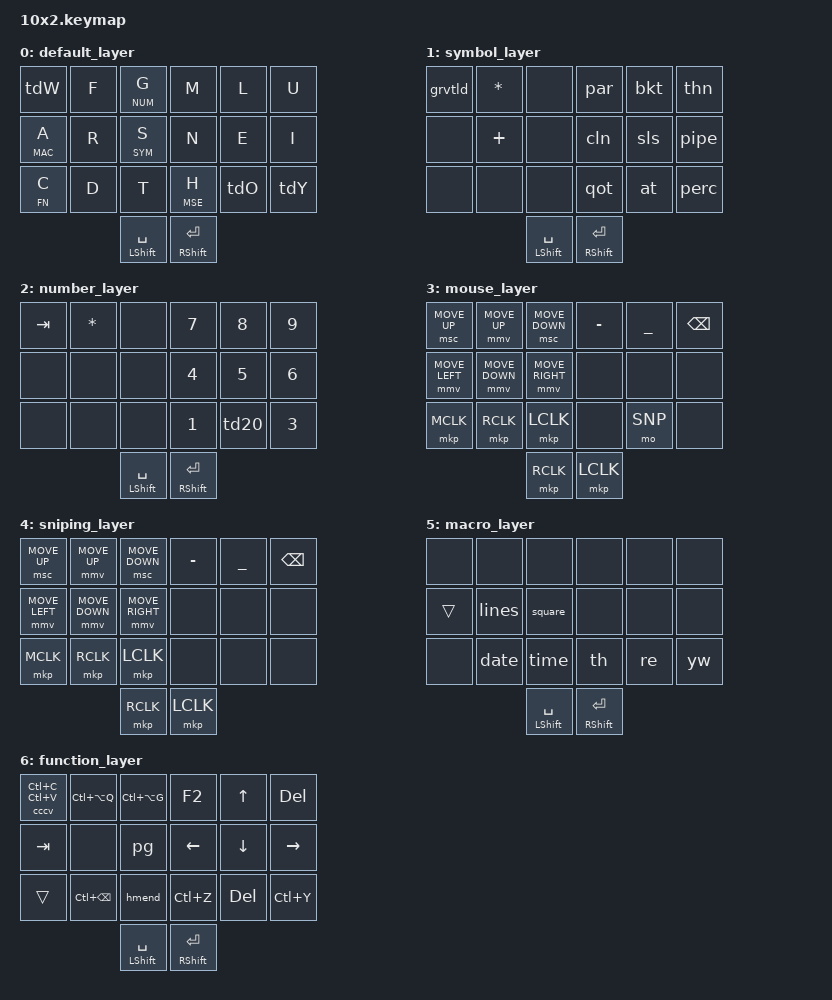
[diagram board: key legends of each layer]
/*
 * Copyright (c) 2024 miketronic
 * SPDX-License-Identifier: MIT
 * 10x2
 */
 
#include <behaviors.dtsi>
#include <input/processors.dtsi>
#include <zephyr/dt-bindings/input/input-event-codes.h>
#include <dt-bindings/zmk/keys.h>
#include <dt-bindings/zmk/outputs.h>
#include <dt-bindings/zmk/mouse.h>
#include "includes/macros.dtsi"
#include "includes/behaviors.dtsi"
#include "includes/combos_10x2.dtsi"

#define DEF         0
#define SYM         1
#define NUM         2
#define MSE         3
#define SNP         4
#define MAC         5
#define FN          6

#define SFTENT   &mt RSHIFT RET
#define SFTSPC   &mt LSHIFT SPC
#define CPST     &cccv LC(C) LC(V)
#define CLIP     &kp LC(LA(Q))
#define GSHT     &kp LC(LA(G))
#define MSEH     &lt MSE H
#define SNPL     &mo SNP

#define MIN   &kp MINUS
#define BSP   &kp BSPC
#define UNDR  &kp UNDER
#define NNN   &none

#define MM_U &mmv MOVE_UP
#define MM_D &mmv MOVE_DOWN
#define MM_R &mmv MOVE_RIGHT
#define MM_L &mmv MOVE_LEFT

#define MS_U &msc MOVE_UP
#define MS_D &msc MOVE_DOWN
#define MS_R &msc MOVE_RIGHT
#define MS_L &msc MOVE_LEFT

#define MCK  &mkp MCLK  
#define RCK  &mkp RCLK  
#define LCK  &mkp LCLK 


&mt {
    tapping-term-ms = <160>;
};

&lt {
    tapping-term-ms = <150>;
};

&mmv_input_listener {
        snipe {
            layers = <SNP>;
            input-processors = <&zip_xy_scaler 1 2>;
        };
        standard {
            layers = <MSE>;
            input-processors = <&zip_xy_scaler 3 1>;
        };
};

/ {


    keymap {
        compatible = "zmk,keymap";

        default_layer {
            bindings = <
                &tdW         &kp F   &lt NUM G          &kp M      &kp L   &kp U
                &lt MAC A    &kp R   &lt SYM S          &kp N      &kp E   &kp I
                &lt FN C     &kp D   &kp T              MSEH       &tdO    &tdY
                                     SFTSPC    SFTENT
            >;
        };

        symbol_layer {
            bindings = <
                &grvtld &kp STAR NNN        &par &bkt &thn
                NNN     &kp PLUS NNN        &cln &sls &pipe
                NNN     NNN      NNN        &qot &at &perc 
                                     SFTSPC    SFTENT
            >;
        };

        number_layer {
            bindings = <
                &kp TAB &kp STAR  NNN        &kp N7   &kp N8   &kp N9
                NNN  NNN   NNN               &kp N4   &kp N5   &kp N6
                NNN  NNN   NNN               &kp N1   &td20    &kp N3
                                     SFTSPC    SFTENT
            >;
        };

        mouse_layer {
            bindings = <
                MS_U    MM_U    MS_D    MIN    UNDR  BSP
                MM_L    MM_D    MM_R    NNN    NNN   NNN
                MCK     RCK     LCK     NNN    SNPL  NNN
                RCK     LCK
            >;
        };

        sniping_layer {
            bindings = <
                MS_U    MM_U    MS_D    MIN    UNDR  BSP
                MM_L    MM_D    MM_R    NNN    NNN   NNN
                MCK     RCK     LCK     NNN    NNN   NNN
                RCK     LCK
            >;
        };

        macro_layer {
            bindings = <
                NNN     NNN     NNN      NNN NNN NNN
                &trans  &lines  &square  NNN NNN NNN
                NNN     &date   &time    &th &re &yw
                                     SFTSPC    SFTENT
            >;
        };

        function_layer {  
            bindings = <
                CPST       CLIP         GSHT     &kp F2       &kp UP      &kp DEL
                &kp TAB    NNN          &pg      &kp LEFT     &kp DOWN    &kp RIGHT
                &trans     &kp LC(BSPC) &hmend   &kp LC(Z)    &kp DEL     &kp LC(Y)
                                     SFTSPC    SFTENT
            >;
        };
    };
};
